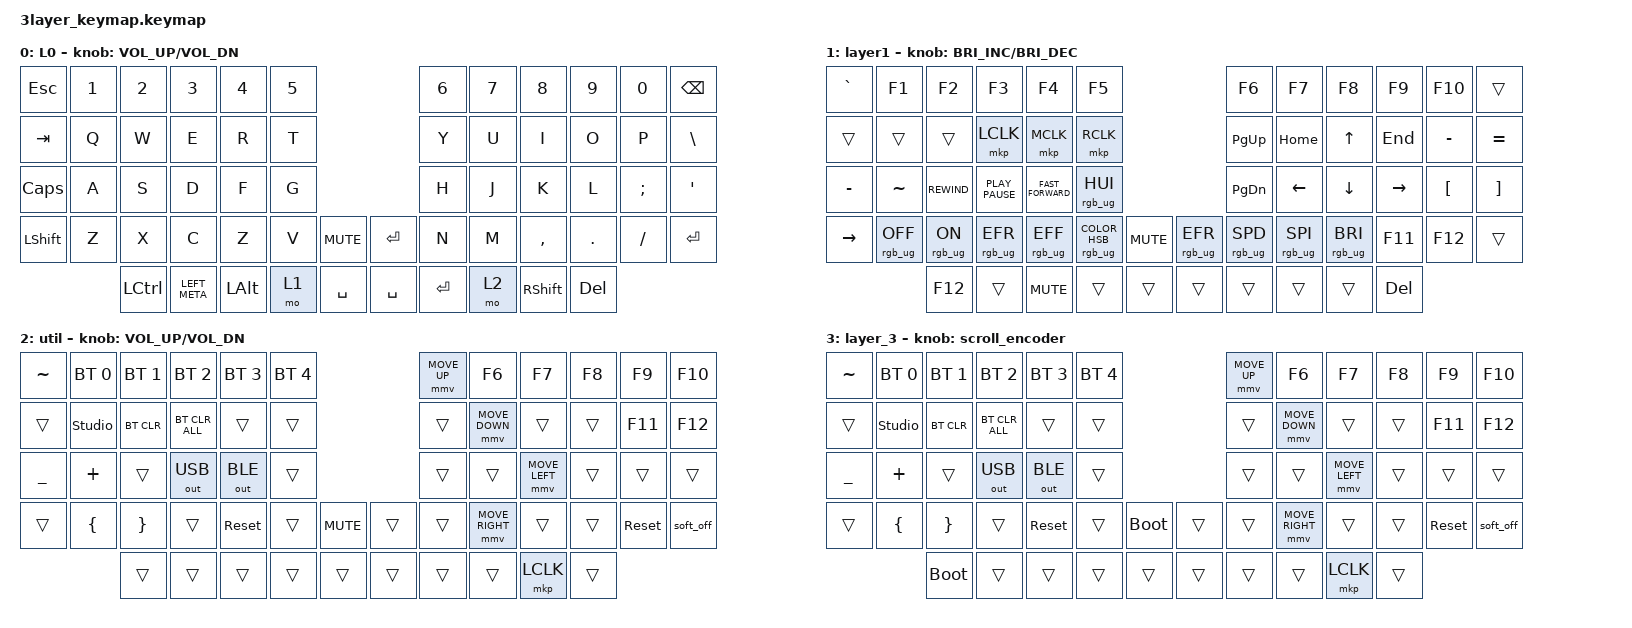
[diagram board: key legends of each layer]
#include <dt-bindings/zmk/mouse.h>
#include <input/processors.dtsi>
#include <behaviors.dtsi>
#include <dt-bindings/zmk/bt.h>
#include <dt-bindings/zmk/keys.h>
#include <dt-bindings/zmk/outputs.h>
#include <dt-bindings/zmk/pointing.h>
#include <dt-bindings/zmk/rgb.h>

/*

   &mmv_input_listener {
       input-processors = <&zip_xy_scaler 2 1>;
   };

   &msc_input_listener {
       input-processors = <&zip_xy_scaler 2 1>;
   };

 */

#define ZMK_MOUSE_DEFAULT_MOVE_VAL 1200  // 600
#define ZMK_MOUSE_DEFAULT_SCRL_VAL 20    // 10

/ {
    behaviors {
        mmv {
            acceleration-exponent = <1>;      // 1
            time-to-max-speed-ms = <900>;    // 40
            delay-ms = <0>;                   // 0
        };

        msc {
            acceleration-exponent = <1>;      // 0
            time-to-max-speed-ms = <400>;      // 500
            delay-ms = <0>;                   //   10
        };
    };

    scroll_encoder: scroll_encoder {
        compatible = "zmk,behavior-sensor-rotate";
        #sensor-binding-cells = <0>;
        bindings = <&msc SCRL_DOWN>, <&msc SCRL_UP>;

        tap-ms = <30>;
    };

    combos {
        compatible = "zmk,combos";

        RGB_huedown {
            bindings = <&rgb_ug RGB_HUD>;
            key-positions = <53 36 29>;
        };
    };

    keymap {
        compatible = "zmk,keymap";

        L0 {
            bindings = <
&kp ESC         &kp N1  &kp N2            &kp N3         &kp N4        &kp N5                           &kp NUMBER_6  &kp N7  &kp N8           &kp N9      &kp NUMBER_0   &kp BACKSPACE
&kp TAB         &kp Q   &kp W             &kp E          &kp R         &kp T                            &kp Y         &kp U   &kp I            &kp O       &kp P          &kp BSLH
&kp CAPSLOCK    &kp A   &kp S             &kp D          &kp F         &kp G                            &kp H         &kp J   &kp K            &kp L       &kp SEMICOLON  &kp SQT
&kp LEFT_SHIFT  &kp Z   &kp X             &kp C          &kp Z         &kp V   &kp K_MUTE    &kp RET    &kp N         &kp M   &kp COMMA        &kp PERIOD  &kp SLASH      &kp RET
                        &kp LEFT_CONTROL  &kp LEFT_META  &kp LEFT_ALT  &mo 1   &kp SPACE     &kp SPACE  &kp RET       &mo 2   &kp RIGHT_SHIFT  &kp DEL
            >;

            sensor-bindings = <&inc_dec_kp C_VOLUME_UP C_VOL_DN>;
            display-name = "L0";
            label = "main";
        };

        L1 {
            bindings = <
&kp GRAVE  &kp F1           &kp F2          &kp F3            &kp F4              &kp F5                                                           &kp F6           &kp F7           &kp F8           &kp F9     &kp F10           &trans
&trans     &trans           &trans          &mkp LCLK         &mkp MCLK           &mkp RCLK                                                        &kp PAGE_UP      &kp HOME         &kp UP_ARROW     &kp END    &kp MINUS         &kp EQUAL
&kp MINUS  &kp TILDE        &kp C_REWIND    &kp K_PLAY_PAUSE  &kp C_FAST_FORWARD  &rgb_ug RGB_HUI                                                  &kp PAGE_DOWN    &kp LEFT_ARROW   &kp DOWN         &kp RIGHT  &kp LEFT_BRACKET  &kp RIGHT_BRACKET
&kp RIGHT  &rgb_ug RGB_OFF  &rgb_ug RGB_ON  &rgb_ug RGB_EFR   &rgb_ug RGB_EFF     &rgb_ug RGB_COLOR_HSB(145,64,49)  &kp K_MUTE    &rgb_ug RGB_EFR  &rgb_ug RGB_SPD  &rgb_ug RGB_SPI  &rgb_ug RGB_BRI  &kp F11    &kp F12           &trans
                            &kp F12         &trans            &kp C_MUTE          &trans                            &trans        &trans           &trans           &trans           &trans           &kp DEL
            >;

            display-name = "layer1";
            sensor-bindings = <&inc_dec_kp C_BRI_INC C_BRI_DEC>;
            label = "adv";
        };

        L2 {
            bindings = <
&kp TILDE  &bt BT_SEL 0    &bt BT_SEL 1  &bt BT_SEL 2    &bt BT_SEL 3  &bt BT_SEL 4                        &mmv MOVE_UP  &kp F6           &kp F7          &kp F8  &kp F9      &kp F10
&trans     &studio_unlock  &bt BT_CLR    &bt BT_CLR_ALL  &trans        &trans                              &trans        &mmv MOVE_DOWN   &trans          &trans  &kp F11     &kp F12
&kp UNDER  &kp PLUS        &trans        &out OUT_USB    &out OUT_BLE  &trans                              &trans        &trans           &mmv MOVE_LEFT  &trans  &trans      &trans
&trans     &kp LBRC        &kp RBRC      &trans          &sys_reset    &trans        &kp K_MUTE    &trans  &trans        &mmv MOVE_RIGHT  &trans          &trans  &sys_reset  &soft_off
                           &trans        &trans          &trans        &trans        &trans        &trans  &trans        &trans           &mkp LCLK       &trans
            >;

            sensor-bindings = <&inc_dec_kp C_VOLUME_UP C_VOL_DN>;
            label = "util";
        };

        layer_3 {
            bindings = <
&kp TILDE  &bt BT_SEL 0    &bt BT_SEL 1  &bt BT_SEL 2    &bt BT_SEL 3  &bt BT_SEL 4                         &mmv MOVE_UP  &kp F6           &kp F7          &kp F8  &kp F9      &kp F10
&trans     &studio_unlock  &bt BT_CLR    &bt BT_CLR_ALL  &trans        &trans                               &trans        &mmv MOVE_DOWN   &trans          &trans  &kp F11     &kp F12
&kp UNDER  &kp PLUS        &trans        &out OUT_USB    &out OUT_BLE  &trans                               &trans        &trans           &mmv MOVE_LEFT  &trans  &trans      &trans
&trans     &kp LBRC        &kp RBRC      &trans          &sys_reset    &trans        &bootloader    &trans  &trans        &mmv MOVE_RIGHT  &trans          &trans  &sys_reset  &soft_off
                           &bootloader   &trans          &trans        &trans        &trans         &trans  &trans        &trans           &mkp LCLK       &trans
            >;

            sensor-bindings = <&scroll_encoder>;
        };
    };

    conditional_layers {
        compatible = "zmk,conditional-layers";

        layer3 {
            if-layers = <1 2>;
            then-layer = <3>;
        };
    };
};
